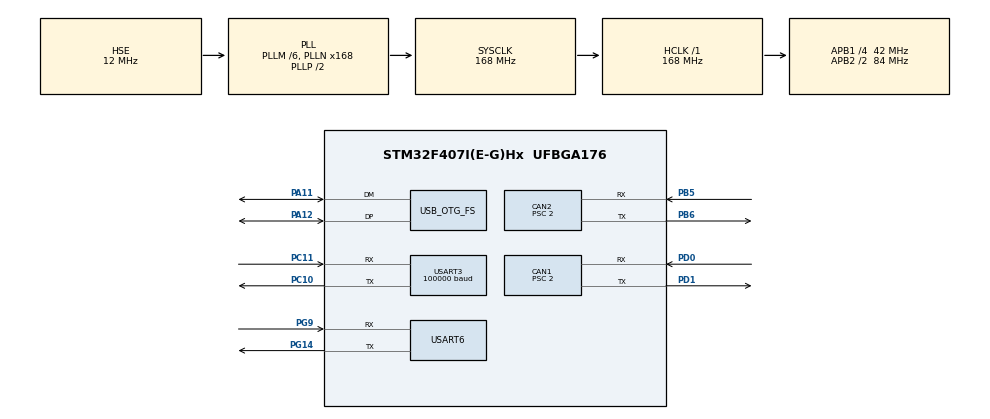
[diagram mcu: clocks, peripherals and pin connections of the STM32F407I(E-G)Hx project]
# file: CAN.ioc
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CAN1.BS1=CAN_BS1_16TQ
CAN1.BS2=CAN_BS2_4TQ
CAN1.CalculateBaudRate=1000000
CAN1.CalculateTimeBit=1000
CAN1.CalculateTimeQuantum=47.61904761904762
CAN1.Prescaler=2
CAN2.ABOM=ENABLE
CAN2.BS1=CAN_BS1_16TQ
CAN2.BS2=CAN_BS2_4TQ
CAN2.CalculateBaudRate=1000000
CAN2.CalculateTimeBit=1000
CAN2.CalculateTimeQuantum=47.61904761904762
CAN2.Prescaler=2
Dma.Request0=USART3_RX
Dma.USART3_RX.0.Direction=DMA_PERIPH_TO_MEMORY
Dma.USART3_RX.0.FIFOMode=DMA_FIFOMODE_DISABLE
Dma.USART3_RX.0.Instance=DMA1_Stream1
Dma.USART3_RX.0.MemDataAlignment=DMA_MDATAALIGN_BYTE
Dma.USART3_RX.0.MemInc=DMA_MINC_ENABLE
Dma.USART3_RX.0.Mode=DMA_NORMAL
Dma.USART3_RX.0.PeriphDataAlignment=DMA_PDATAALIGN_BYTE
Dma.USART3_RX.0.PeriphInc=DMA_PINC_DISABLE
Dma.USART3_RX.0.Priority=DMA_PRIORITY_LOW
FREERTOS.Tasks01=gimbalTask,40,512,StartGimbalTask,Default,NULL,Dynamic,NULL,NULL
FREERTOS.configUSE_PREEMPTION=1
Mcu.Family=STM32F4
Mcu.Name=STM32F407I(E-G)Hx
Mcu.Package=UFBGA176
NVIC.DMA1_Stream1_IRQn=true\:5\:0\:false\:false\:true\:true\:false\:true\:true
NVIC.OTG_FS_IRQn=true\:5\:0\:false\:false\:true\:true\:true\:true\:true
NVIC.PriorityGroup=NVIC_PRIORITYGROUP_4
NVIC.TIM6_DAC_IRQn=true\:15\:0\:false\:false\:true\:false\:false\:true\:true
NVIC.TimeBase=TIM6_DAC_IRQn
NVIC.TimeBaseIP=TIM6
NVIC.USART3_IRQn=true\:5\:0\:false\:false\:true\:true\:true\:true\:true
PA11.Mode=Device_Only
PA11.Signal=USB_OTG_FS_DM
PA12.Mode=Device_Only
PA12.Signal=USB_OTG_FS_DP
PA13.Mode=Serial_Wire
PA13.Signal=SYS_JTMS-SWDIO
PA14.Mode=Serial_Wire
PA14.Signal=SYS_JTCK-SWCLK
PB5.Mode=CAN_Activate
PB5.Signal=CAN2_RX
PB6.Mode=CAN_Activate
PB6.Signal=CAN2_TX
PC10.Mode=Asynchronous
PC10.Signal=USART3_TX
PC11.Mode=Asynchronous
PC11.Signal=USART3_RX
PD0.Mode=CAN_Activate
PD0.Signal=CAN1_RX
PD1.Mode=CAN_Activate
PD1.Signal=CAN1_TX
PG14.Mode=Asynchronous
PG14.Signal=USART6_TX
PG9.Mode=Asynchronous
PG9.Signal=USART6_RX
PH0-OSC_IN.Mode=HSE-External-Oscillator
PH0-OSC_IN.Signal=RCC_OSC_IN
PH1-OSC_OUT.Mode=HSE-External-Oscillator
PH1-OSC_OUT.Signal=RCC_OSC_OUT
ProjectManager.HeapSize=0x200
ProjectManager.StackSize=0x400
ProjectManager.TargetToolchain=CMake
RCC.48MHZClocksFreq_Value=48000000
RCC.AHBFreq_Value=168000000
RCC.APB1CLKDivider=RCC_HCLK_DIV4
RCC.APB1Freq_Value=42000000
RCC.APB1TimFreq_Value=84000000
RCC.APB2CLKDivider=RCC_HCLK_DIV2
RCC.APB2Freq_Value=84000000
RCC.APB2TimFreq_Value=168000000
RCC.CortexFreq_Value=168000000
RCC.HCLKFreq_Value=168000000
RCC.HSE_VALUE=12000000
RCC.HSI_VALUE=16000000
RCC.LSE_VALUE=32768
RCC.PLLM=6
RCC.PLLN=168
RCC.PLLQ=7
RCC.SYSCLKFreq_VALUE=168000000
RCC.SYSCLKSource=RCC_SYSCLKSOURCE_PLLCLK
RCC.VCOOutputFreq_Value=336000000
USART3.BaudRate=100000
USART3.Mode=MODE_RX
USART3.Parity=PARITY_EVEN
USART3.VirtualMode=VM_ASYNC
USART3.WordLength=WORDLENGTH_9B
USART6.VirtualMode=VM_ASYNC
USB_DEVICE.CLASS_NAME_FS=CDC
USB_DEVICE.VirtualMode-CDC_FS=Cdc
USB_DEVICE.VirtualModeFS=Cdc_FS
USB_OTG_FS.VirtualMode=Device_Only
VP_FREERTOS_VS_CMSIS_V2.Mode=CMSIS_V2
VP_SYS_VS_tim6.Mode=TIM6
VP_USB_DEVICE_VS_USB_DEVICE_CDC_FS.Mode=CDC_FS
board=custom

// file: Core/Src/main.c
/* USER CODE BEGIN Header */
/**
  ******************************************************************************
  * @file           : main.c
  * @brief          : Main program body
  ******************************************************************************
  * @attention
  *
  * Copyright (c) 2026 STMicroelectronics.
  * All rights reserved.
  *
  * This software is licensed under terms that can be found in the LICENSE file
  * in the root directory of this software component.
  * If no LICENSE file comes with this software, it is provided AS-IS.
  *
  ******************************************************************************
  */
/* USER CODE END Header */
#include "main.h"
#include "cmsis_os.h"
#include "can.h"
#include "dma.h"
#include "usart.h"
#include "usb_device.h"
#include "gpio.h"

/* USER CODE BEGIN Includes */
/*
 * 项目自定义模块：
 *   chassis_can.h  — CAN2 底盘控制命令发送 (Chassis CAN2 command transmission)
 *   control_input.h — USB CDC 双轴串口控制入口 (USB CDC serial control interface)
 *   dbus_monitor.h — DBUS 数据 USB CDC 调试输出
 *   gimbal_calibration.h — 双轴上电自动机械零位采样
 *   motor_control.h — 双轴 GM6020 电机串级 PID 控制 (GM6020 cascaded PID control)
 *   remote_gimbal_control.h — DBUS 摇杆到双轴云台位置目标的映射
 */
#include "chassis_can.h"
#include "control_input.h"
#include "dbus.h"
#include "dbus_monitor.h"
#include "gimbal_calibration.h"
#include "motor_control.h"
#include "remote_gimbal_control.h"
/* USER CODE END Includes */

/* USER CODE BEGIN PD */

/*
 * 速度环调试上电自启动配置。
 *
 * SPEED_LOOP_DEBUG_BOOT_ENABLE:
 *   0 — 正常模式：上电后进入位置控制（等待串口目标角度）
 *   1 — 调试模式：上电收到 CAN 反馈后自动进入速度环调试，
 *       绕过角度环，以固定 RPM 驱动电机。
 *
 * 仅在需要整定速度环 PID 参数或测试电机机械响应时开启。
 * 正常使用时设为 0。
 *
 * SPEED_LOOP_DEBUG_AXIS:
 *   调试目标轴：GM6020_AXIS_YAW 或 GM6020_AXIS_PITCH
 *
 * SPEED_LOOP_DEBUG_TARGET_RPM:
 *   调试模式下的初始目标转速（rpm），自动限幅到 ±200 RPM。
 *   正负方向由电机安装方向及编码器标定决定。
 */
#define SPEED_LOOP_DEBUG_BOOT_ENABLE  0U
#define SPEED_LOOP_DEBUG_AXIS         GM6020_AXIS_YAW
#define SPEED_LOOP_DEBUG_TARGET_RPM   100.0f

/* USER CODE END PD */

void SystemClock_Config(void);
void MX_FREERTOS_Init(void);

int main(void)
{

  /* MCU Configuration--------------------------------------------------------*/

  /* Reset of all peripherals, Initializes the Flash interface and the Systick. */
  HAL_Init();

  /* Configure the system clock */
  SystemClock_Config();

  /* Initialize all configured peripherals */
  MX_GPIO_Init();
  MX_DMA_Init();
  MX_CAN1_Init();
  MX_USART6_UART_Init();
  MX_CAN2_Init();
  MX_USART3_UART_Init();
  /* USER CODE BEGIN 2 */

  /* ---- 阶段2：业务模块初始化 ---- */

  /*
   * 初始化双轴 GM6020 电机控制器。
   * 内部流程：校验配置（CAN ID/电流槽位无冲突） → 配置 CAN 滤波器
   *         （0x205 接收 Yaw, 0x206 接收 Pitch） → 启动 CAN1
   *         → 发送初始零电流命令（0x1FE 帧）。
   * 必须在 MX_CAN1_Init() 之后调用（依赖 hcan1 句柄已初始化）。
   */
  if (GM6020_Init(&hcan1) != HAL_OK)
  {
    Error_Handler();
  }
  GimbalCalibration_Init();

  /*
   * 初始化 CAN2 底盘发送通道。
   * 校验 hcan2 为 CAN2 外设 → 启动 CAN2 → 记录时间戳基准。
   */
  if (ChassisCAN_Init(&hcan2) != HAL_OK)
  {
    Error_Handler();
  }

  /*
   * 启动开发板 C 型板载 DBUS 接口：
   * DBUS -> 板载反相电路 -> PC11/USART3_RX -> DMA1 Stream1。
   */
  if (DBUS_Init(&huart3) != HAL_OK)
  {
    Error_Handler();
  }
  RemoteGimbalControl_Init();

#if SPEED_LOOP_DEBUG_BOOT_ENABLE
  /*
   * 【调试配置】上电自动进入速度环调试模式：
   *   1. 覆盖默认的 PID 增益（便于快速迭代调参无需重新编译）
   *   2. 进入速度调试模式，以固定 RPM 驱动指定轴
   *
   * 调参完成后将 SPEED_LOOP_DEBUG_BOOT_ENABLE 改回 0，重新编译即可。
   */
  (void)GM6020_SetSpeedPidGains(
      SPEED_LOOP_DEBUG_AXIS, 31.0f, 30.0f, 0.0f);
  GM6020_EnterSpeedDebug(
      SPEED_LOOP_DEBUG_AXIS, SPEED_LOOP_DEBUG_TARGET_RPM);
#endif
  /* USER CODE END 2 */

  /* Init scheduler */
  osKernelInitialize();  /* Call init function for freertos objects (in cmsis_os2.c) */
  MX_FREERTOS_Init();

  /* Start scheduler */
  osKernelStart();

  /* We should never get here as control is now taken by the scheduler */

  /* Infinite loop */
  while (1)
  {

    /* USER CODE BEGIN 3 */
    /* osKernelStart() 成功后不会返回；业务调度位于 freertos.c。 */
  }
  /* USER CODE END 3 */
}

void SystemClock_Config(void)
{
  RCC_OscInitTypeDef RCC_OscInitStruct = {0};
  RCC_ClkInitTypeDef RCC_ClkInitStruct = {0};

  /** Configure the main internal regulator output voltage
  */
  __HAL_RCC_PWR_CLK_ENABLE();
  __HAL_PWR_VOLTAGESCALING_CONFIG(PWR_REGULATOR_VOLTAGE_SCALE1);

  /** Initializes the RCC Oscillators according to the specified parameters
  * in the RCC_OscInitTypeDef structure.
  */
  RCC_OscInitStruct.OscillatorType = RCC_OSCILLATORTYPE_HSE;
  RCC_OscInitStruct.HSEState = RCC_HSE_ON;
  RCC_OscInitStruct.PLL.PLLState = RCC_PLL_ON;
  RCC_OscInitStruct.PLL.PLLSource = RCC_PLLSOURCE_HSE;
  RCC_OscInitStruct.PLL.PLLM = 6;
  RCC_OscInitStruct.PLL.PLLN = 168;
  RCC_OscInitStruct.PLL.PLLP = RCC_PLLP_DIV2;
  RCC_OscInitStruct.PLL.PLLQ = 7;
  if (HAL_RCC_OscConfig(&RCC_OscInitStruct) != HAL_OK)
  {
    Error_Handler();
  }

  /** Initializes the CPU, AHB and APB buses clocks
  */
  RCC_ClkInitStruct.ClockType = RCC_CLOCKTYPE_HCLK|RCC_CLOCKTYPE_SYSCLK
                              |RCC_CLOCKTYPE_PCLK1|RCC_CLOCKTYPE_PCLK2;
  RCC_ClkInitStruct.SYSCLKSource = RCC_SYSCLKSOURCE_PLLCLK;
  RCC_ClkInitStruct.AHBCLKDivider = RCC_SYSCLK_DIV1;
  RCC_ClkInitStruct.APB1CLKDivider = RCC_HCLK_DIV4;
  RCC_ClkInitStruct.APB2CLKDivider = RCC_HCLK_DIV2;

  if (HAL_RCC_ClockConfig(&RCC_ClkInitStruct, FLASH_LATENCY_5) != HAL_OK)
  {
    Error_Handler();
  }
}

void HAL_TIM_PeriodElapsedCallback(TIM_HandleTypeDef *htim)
{
  if (htim->Instance == TIM6)
  {
    HAL_IncTick();
  }
}

void Error_Handler(void)
{
  __disable_irq();
  while (1)
  {
  }
}

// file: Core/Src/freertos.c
/* USER CODE BEGIN Header */
/**
  ******************************************************************************
  * File Name          : freertos.c
  * Description        : Code for freertos applications
  ******************************************************************************
  * @attention
  *
  * Copyright (c) 2026 STMicroelectronics.
  * All rights reserved.
  *
  * This software is licensed under terms that can be found in the LICENSE file
  * in the root directory of this software component.
  * If no LICENSE file comes with this software, it is provided AS-IS.
  *
  ******************************************************************************
  */
/* USER CODE END Header */

#include "FreeRTOS.h"
#include "task.h"
#include "main.h"
#include "cmsis_os.h"

/* USER CODE BEGIN Includes */
#include "chassis_can.h"
#include "control_input.h"
#include "dbus.h"
#include "dbus_monitor.h"
#include "gimbal_calibration.h"
#include "motor_control.h"
#include "remote_gimbal_control.h"
/* USER CODE END Includes */

/* USER CODE BEGIN PD */
#define GIMBAL_CONTROL_PERIOD_MS  1U
/* USER CODE END PD */

/* Definitions for gimbalTask */
osThreadId_t gimbalTaskHandle;
const osThreadAttr_t gimbalTask_attributes = {
  .name = "gimbalTask",
  .stack_size = 512 * 4,
  .priority = (osPriority_t) osPriorityHigh,
};

void StartGimbalTask(void *argument);

extern void MX_USB_DEVICE_Init(void);
void MX_FREERTOS_Init(void); /* (MISRA C 2004 rule 8.1) */

void MX_FREERTOS_Init(void) {

  /* Create the thread(s) */
  /* creation of gimbalTask */
  gimbalTaskHandle = osThreadNew(StartGimbalTask, NULL, &gimbalTask_attributes);

}

void StartGimbalTask(void *argument)
{
  /* init code for USB_DEVICE */
  MX_USB_DEVICE_Init();
  /* USER CODE BEGIN StartGimbalTask */
  TickType_t last_wake_time = xTaskGetTickCount();

  (void)argument;

  /*
   * 保留原裸机主循环的调用顺序，避免 RTOS 迁移改变控制行为。
   * 任务使用绝对唤醒时间，以 1 ms 周期运行且不累积调度漂移。
   */
  for(;;)
  {
    DBUS_Process();
    control_in();
    GM6020_Process();
    GimbalCalibration_Process();
    RemoteGimbalControl_Process();
    /* control_out(); */  /* DBUS 调试期间暂停周期 FB 上报 */
    DBUS_Monitor_Process();
    ChassisCAN_Process();

    vTaskDelayUntil(
        &last_wake_time,
        pdMS_TO_TICKS(GIMBAL_CONTROL_PERIOD_MS));
  }
  /* USER CODE END StartGimbalTask */
}

/* USER CODE BEGIN Application */

void vApplicationStackOverflowHook(TaskHandle_t task,
                                   char *task_name)
{
  (void)task;
  (void)task_name;
  taskDISABLE_INTERRUPTS();
  for (;;)
  {
  }
}

void vApplicationMallocFailedHook(void)
{
  taskDISABLE_INTERRUPTS();
  for (;;)
  {
  }
}

/* USER CODE END Application */
